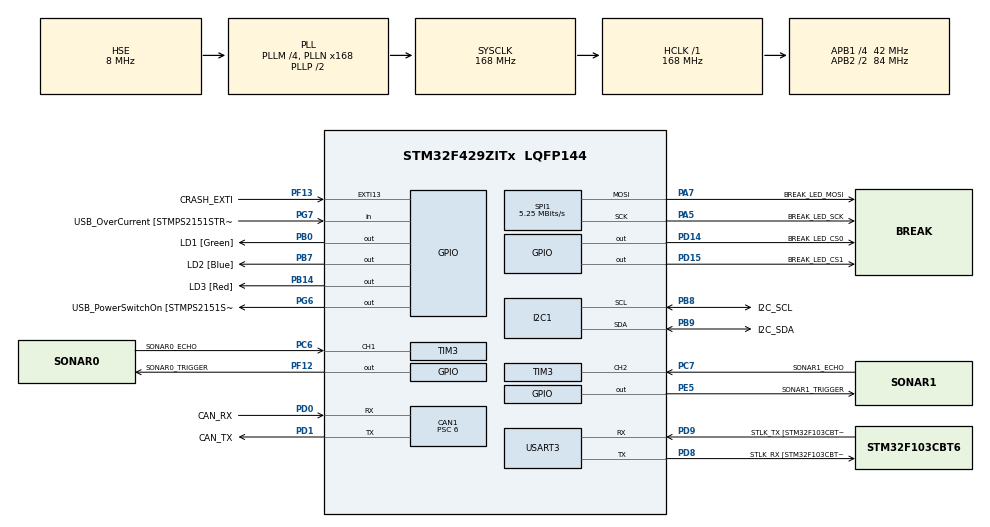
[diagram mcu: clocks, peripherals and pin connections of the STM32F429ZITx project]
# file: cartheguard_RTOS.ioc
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CAN1.BS1=CAN_BS1_11TQ
CAN1.BS2=CAN_BS2_2TQ
CAN1.CalculateBaudRate=500000
CAN1.CalculateTimeBit=2000
CAN1.CalculateTimeQuantum=142.85714285714286
CAN1.Prescaler=6
FREERTOS.Tasks01=defaultTask,0,128,StartDefaultTask,Default,NULL,Dynamic,NULL,NULL
Mcu.Family=STM32F4
Mcu.Name=STM32F429ZITx
Mcu.Package=LQFP144
NVIC.CAN1_RX0_IRQn=true\:5\:0\:false\:false\:true\:true\:true\:true\:true
NVIC.CAN1_RX1_IRQn=true\:5\:0\:false\:false\:true\:true\:true\:true\:true
NVIC.EXTI15_10_IRQn=true\:10\:0\:true\:false\:true\:true\:true\:true\:true
NVIC.PriorityGroup=NVIC_PRIORITYGROUP_4
NVIC.TIM3_IRQn=true\:5\:0\:false\:false\:true\:true\:true\:true\:true
PA13.GPIO_Label=TMS
PA13.Mode=Serial_Wire
PA13.Signal=SYS_JTMS-SWDIO
PA14.GPIO_Label=TCK
PA14.Mode=Serial_Wire
PA14.Signal=SYS_JTCK-SWCLK
PA5.GPIO_Label=BREAK_LED_SCK
PA5.Mode=TX_Only_Simplex_Unidirect_Master
PA5.Signal=SPI1_SCK
PA7.GPIO_Label=BREAK_LED_MOSI
PA7.Mode=TX_Only_Simplex_Unidirect_Master
PA7.Signal=SPI1_MOSI
PB0.GPIO_Label=LD1 [Green]
PB0.Signal=GPIO_Output
PB14.GPIO_Label=LD3 [Red]
PB14.Signal=GPIO_Output
PB7.GPIO_Label=LD2 [Blue]
PB7.Signal=GPIO_Output
PB8.GPIO_Label=I2C_SCL
PB8.Mode=I2C
PB8.Signal=I2C1_SCL
PB9.GPIO_Label=I2C_SDA
PB9.Mode=I2C
PB9.Signal=I2C1_SDA
PC14/OSC32_IN.Mode=LSE-External-Oscillator
PC14/OSC32_IN.Signal=RCC_OSC32_IN
PC15/OSC32_OUT.Mode=LSE-External-Oscillator
PC15/OSC32_OUT.Signal=RCC_OSC32_OUT
PC6.GPIO_Label=SONAR0_ECHO
PC6.Signal=S_TIM3_CH1
PC7.GPIO_Label=SONAR1_ECHO
PC7.Signal=S_TIM3_CH2
PD0.GPIO_Label=CAN_RX
PD0.Mode=CAN_Activate
PD0.Signal=CAN1_RX
PD1.GPIO_Label=CAN_TX
PD1.Mode=CAN_Activate
PD1.Signal=CAN1_TX
PD14.GPIO_Label=BREAK_LED_CS0
PD14.Signal=GPIO_Output
PD15.GPIO_Label=BREAK_LED_CS1
PD15.Signal=GPIO_Output
PD8.GPIO_Label=STLK_RX [STM32F103CBT6_PA3]
PD8.Mode=Asynchronous
PD8.Signal=USART3_TX
PD9.GPIO_Label=STLK_TX [STM32F103CBT6_PA2]
PD9.Mode=Asynchronous
PD9.Signal=USART3_RX
PE5.GPIO_Label=SONAR1_TRIGGER
PE5.Signal=GPIO_Output
PF12.GPIO_Label=SONAR0_TRIGGER
PF12.Signal=GPIO_Output
PF13.GPIO_Label=CRASH_EXTI
PF13.GPIO_ModeDefaultEXTI=GPIO_MODE_IT_FALLING
PF13.Signal=GPXTI13
PG6.GPIO_Label=USB_PowerSwitchOn [STMPS2151STR_EN]
PG6.Signal=GPIO_Output
PG7.GPIO_Label=USB_OverCurrent [STMPS2151STR_FAULT]
PG7.Signal=GPIO_Input
PH0/OSC_IN.GPIO_Label=MCO [STM32F103CBT6_PA8]
PH0/OSC_IN.Mode=HSE-External-Clock-Source
PH0/OSC_IN.Signal=RCC_OSC_IN
PH1/OSC_OUT.Mode=HSE-External-Clock-Source
PH1/OSC_OUT.Signal=RCC_OSC_OUT
ProjectManager.HeapSize=0x2000
ProjectManager.StackSize=0x4000
ProjectManager.TargetToolchain=STM32CubeIDE
RCC.48MHZClocksFreq_Value=48000000
RCC.AHBFreq_Value=168000000
RCC.APB1CLKDivider=RCC_HCLK_DIV4
RCC.APB1Freq_Value=42000000
RCC.APB1TimFreq_Value=84000000
RCC.APB2CLKDivider=RCC_HCLK_DIV2
RCC.APB2Freq_Value=84000000
RCC.APB2TimCLKDivider=2
RCC.APB2TimFreq_Value=168000000
RCC.CortexFreq_Value=168000000
RCC.HCLKFreq_Value=168000000
RCC.HSE_VALUE=8000000
RCC.HSI_VALUE=16000000
RCC.PLLM=4
RCC.PLLMUL=RCC_PLL_MUL9
RCC.PLLN=168
RCC.PLLQ=7
RCC.PLLSourceVirtual=RCC_PLLSOURCE_HSE
RCC.PRESCALERUSB=RCC_USBCLKSOURCE_PLL_DIV1_5
RCC.SYSCLKFreq_VALUE=168000000
RCC.SYSCLKSource=RCC_SYSCLKSOURCE_PLLCLK
RCC.SYSCLKSourceVirtual=RCC_SYSCLKSOURCE_PLLCLK
RCC.USBFreq_Value=48000000
RCC.VCOOutputFreq_Value=336000000
SH.S_TIM3_CH1.0=TIM3_CH1,Input_Capture1_from_TI1
SH.S_TIM3_CH2.0=TIM3_CH2,Input_Capture2_from_TI2
SPI1.BaudRatePrescaler=SPI_BAUDRATEPRESCALER_16
SPI1.CalculateBaudRate=5.25 MBits/s
SPI1.Direction=SPI_DIRECTION_2LINES
SPI1.Mode=SPI_MODE_MASTER
SPI1.VirtualType=VM_MASTER
TIM3.Channel-Input_Capture1_from_TI1=TIM_CHANNEL_1
TIM3.Channel-Input_Capture2_from_TI2=TIM_CHANNEL_2
TIM3.Prescaler=84-1
USART3.VirtualMode=VM_ASYNC
VP_FREERTOS_VS_CMSIS_V1.Mode=CMSIS_V1
VP_TIM3_VS_ClockSourceINT.Mode=Internal
board=NUCLEO-F429ZI

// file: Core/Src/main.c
/* USER CODE BEGIN Header */
/**
  ******************************************************************************
  * @file           : main.c
  * @brief          : Main program body
  ******************************************************************************
  * @attention
  *
  * Copyright (c) 2025 STMicroelectronics.
  * All rights reserved.
  *
  * This software is licensed under terms that can be found in the LICENSE file
  * in the root directory of this software component.
  * If no LICENSE file comes with this software, it is provided AS-IS.
  *
  ******************************************************************************
  */
/* USER CODE END Header */
#include "main.h"
#include "cmsis_os.h"

/* USER CODE BEGIN Includes */
#include <stdio.h>
#include "sonar.h"
#include "grid_led.h"
#include "compass.h"
#include "accel.h"
#include "collision.h"
#include "can.h"
#include "send_scheduler.h"
#include "can_bridge.h"

/* USER CODE END Includes */

CAN_HandleTypeDef hcan1;

I2C_HandleTypeDef hi2c1;

SPI_HandleTypeDef hspi1;

TIM_HandleTypeDef htim3;

UART_HandleTypeDef huart3;

osThreadId defaultTaskHandle;
/* USER CODE BEGIN PV */
osThreadId sonarTaskHandle;
osThreadId gridLEDTaskHandle;
osThreadId compassTaskHandle;
osThreadId accelTaskHandle;
osThreadId collisionTaskHandle;
osThreadId canTxTaskHandle;
osThreadId sendSchedulerTaskHandle;

osMessageQId canTxQueueHandle;
/* USER CODE END PV */

void SystemClock_Config(void);
static void MX_GPIO_Init(void);
static void MX_USART3_UART_Init(void);
static void MX_CAN1_Init(void);
static void MX_I2C1_Init(void);
static void MX_SPI1_Init(void);
static void MX_TIM3_Init(void);
void StartDefaultTask(void const * argument);

/* USER CODE BEGIN PFP */
void StartCompassTask(void const * argument);
void StartAccelTask(void const * argument);
void StartCollisionTask(void const * argument);
void StartCANTxTask(void const * argument);
void StartSendSchedulerTask(void const * argument);

/* USER CODE END PFP */

/* USER CODE BEGIN 0 */
int __io_putchar(uint8_t ch){
	HAL_UART_Transmit(&huart3, &ch, 1, 1000);
    return ch;
}

/* USER CODE END 0 */

int main(void)
{

  /* MCU Configuration--------------------------------------------------------*/

  /* Reset of all peripherals, Initializes the Flash interface and the Systick. */
  HAL_Init();

  /* Configure the system clock */
  SystemClock_Config();

  /* Initialize all configured peripherals */
  MX_GPIO_Init();
  MX_USART3_UART_Init();
  MX_CAN1_Init();
  MX_I2C1_Init();
  MX_SPI1_Init();
  MX_TIM3_Init();
  /* USER CODE BEGIN 2 */
  // --- I2C Scanner Start ---
  printf("Scanning I2C bus...\r\n");
  HAL_StatusTypeDef result;
  uint8_t i;
  for (i = 1; i < 128; i++)
  {
    // 해당 주소로 빈 데이터를 보내서 ACK가 오는지 확인
    result = HAL_I2C_IsDeviceReady(&hi2c1, (uint16_t)(i << 1), 2, 10);
    if (result == HAL_OK)
    {
        printf("Device found at 0x%02X (Write Addr: 0x%02X)\r\n", i, (i << 1));
    }
  }
  printf("Scan complete.\r\n");
  // --- I2C Scanner End ---

  GRIDLED_init(&hspi1);
  SONAR_init(&htim3);
  COMPASS_init(&hi2c1);
  ACCEL_init(&hi2c1);
  CAN_init();

  // ...
  /* USER CODE END 2 */

  /* Create the thread(s) */
  /* definition and creation of defaultTask */
//  osThreadDef(defaultTask, StartDefaultTask, osPriorityNormal, 0, 128);
//  defaultTaskHandle = osThreadCreate(osThread(defaultTask), NULL);

  /* USER CODE BEGIN RTOS_THREADS */
  /* add threads, ... */
  osThreadDef(sonarTask, StartSonarTask, osPriorityNormal, 0, 128);
  sonarTaskHandle = osThreadCreate(osThread(sonarTask), NULL);

  osThreadDef(gridLEDTask, StartGridLEDTask, osPriorityLow, 0, 128);
  gridLEDTaskHandle = osThreadCreate(osThread(gridLEDTask), NULL);

  osThreadDef(compassTask, StartCompassTask, osPriorityNormal, 0, 512);
  compassTaskHandle = osThreadCreate(osThread(compassTask), NULL);

  osThreadDef(accelTask, StartAccelTask, osPriorityNormal, 0, 512);
  accelTaskHandle = osThreadCreate(osThread(accelTask), NULL);

  osThreadDef(collisionTask, StartCollisionTask, osPriorityHigh, 0, 512);
  collisionTaskHandle = osThreadCreate(osThread(collisionTask), NULL);

  osThreadDef(canTxTask, StartCANTxTask, osPriorityAboveNormal, 0, 512);
  canTxTaskHandle = osThreadCreate(osThread(canTxTask), NULL);

  osThreadDef(sendSchedulerTask, StartSendSchedulerTask, osPriorityAboveNormal, 0, 512);
  sendSchedulerTaskHandle = osThreadCreate(osThread(sendSchedulerTask), NULL);

  /* USER CODE END RTOS_THREADS */

  /* Start scheduler */
  osKernelStart();

  /* We should never get here as control is now taken by the scheduler */

  /* Infinite loop */
  while (1)
  {

  }
}

void SystemClock_Config(void)
{
  RCC_OscInitTypeDef RCC_OscInitStruct = {0};
  RCC_ClkInitTypeDef RCC_ClkInitStruct = {0};

  /** Configure the main internal regulator output voltage
  */
  __HAL_RCC_PWR_CLK_ENABLE();
  __HAL_PWR_VOLTAGESCALING_CONFIG(PWR_REGULATOR_VOLTAGE_SCALE1);

  /** Initializes the RCC Oscillators according to the specified parameters
  * in the RCC_OscInitTypeDef structure.
  */
  RCC_OscInitStruct.OscillatorType = RCC_OSCILLATORTYPE_HSE;
  RCC_OscInitStruct.HSEState = RCC_HSE_BYPASS;
  RCC_OscInitStruct.PLL.PLLState = RCC_PLL_ON;
  RCC_OscInitStruct.PLL.PLLSource = RCC_PLLSOURCE_HSE;
  RCC_OscInitStruct.PLL.PLLM = 4;
  RCC_OscInitStruct.PLL.PLLN = 168;
  RCC_OscInitStruct.PLL.PLLP = RCC_PLLP_DIV2;
  RCC_OscInitStruct.PLL.PLLQ = 7;
  if (HAL_RCC_OscConfig(&RCC_OscInitStruct) != HAL_OK)
  {
    Error_Handler();
  }

  /** Initializes the CPU, AHB and APB buses clocks
  */
  RCC_ClkInitStruct.ClockType = RCC_CLOCKTYPE_HCLK|RCC_CLOCKTYPE_SYSCLK
                              |RCC_CLOCKTYPE_PCLK1|RCC_CLOCKTYPE_PCLK2;
  RCC_ClkInitStruct.SYSCLKSource = RCC_SYSCLKSOURCE_PLLCLK;
  RCC_ClkInitStruct.AHBCLKDivider = RCC_SYSCLK_DIV1;
  RCC_ClkInitStruct.APB1CLKDivider = RCC_HCLK_DIV4;
  RCC_ClkInitStruct.APB2CLKDivider = RCC_HCLK_DIV2;

  if (HAL_RCC_ClockConfig(&RCC_ClkInitStruct, FLASH_LATENCY_5) != HAL_OK)
  {
    Error_Handler();
  }
}

static void MX_CAN1_Init(void)
{

  hcan1.Instance = CAN1;
  hcan1.Init.Prescaler = 6;
  hcan1.Init.Mode = CAN_MODE_NORMAL;
  hcan1.Init.SyncJumpWidth = CAN_SJW_1TQ;
  hcan1.Init.TimeSeg1 = CAN_BS1_11TQ;
  hcan1.Init.TimeSeg2 = CAN_BS2_2TQ;
  hcan1.Init.TimeTriggeredMode = DISABLE;
  hcan1.Init.AutoBusOff = DISABLE;
  hcan1.Init.AutoWakeUp = DISABLE;
  hcan1.Init.AutoRetransmission = DISABLE;
  hcan1.Init.ReceiveFifoLocked = DISABLE;
  hcan1.Init.TransmitFifoPriority = DISABLE;
  if (HAL_CAN_Init(&hcan1) != HAL_OK)
  {
    Error_Handler();
  }

}

static void MX_I2C1_Init(void)
{

  hi2c1.Instance = I2C1;
  hi2c1.Init.ClockSpeed = 100000;
  hi2c1.Init.DutyCycle = I2C_DUTYCYCLE_2;
  hi2c1.Init.OwnAddress1 = 0;
  hi2c1.Init.AddressingMode = I2C_ADDRESSINGMODE_7BIT;
  hi2c1.Init.DualAddressMode = I2C_DUALADDRESS_DISABLE;
  hi2c1.Init.OwnAddress2 = 0;
  hi2c1.Init.GeneralCallMode = I2C_GENERALCALL_DISABLE;
  hi2c1.Init.NoStretchMode = I2C_NOSTRETCH_DISABLE;
  if (HAL_I2C_Init(&hi2c1) != HAL_OK)
  {
    Error_Handler();
  }

  /** Configure Analogue filter
  */
  if (HAL_I2CEx_ConfigAnalogFilter(&hi2c1, I2C_ANALOGFILTER_ENABLE) != HAL_OK)
  {
    Error_Handler();
  }

  /** Configure Digital filter
  */
  if (HAL_I2CEx_ConfigDigitalFilter(&hi2c1, 0) != HAL_OK)
  {
    Error_Handler();
  }

}

static void MX_SPI1_Init(void)
{

  /* SPI1 parameter configuration*/
  hspi1.Instance = SPI1;
  hspi1.Init.Mode = SPI_MODE_MASTER;
  hspi1.Init.Direction = SPI_DIRECTION_2LINES;
  hspi1.Init.DataSize = SPI_DATASIZE_8BIT;
  hspi1.Init.CLKPolarity = SPI_POLARITY_LOW;
  hspi1.Init.CLKPhase = SPI_PHASE_1EDGE;
  hspi1.Init.NSS = SPI_NSS_SOFT;
  hspi1.Init.BaudRatePrescaler = SPI_BAUDRATEPRESCALER_16;
  hspi1.Init.FirstBit = SPI_FIRSTBIT_MSB;
  hspi1.Init.TIMode = SPI_TIMODE_DISABLE;
  hspi1.Init.CRCCalculation = SPI_CRCCALCULATION_DISABLE;
  hspi1.Init.CRCPolynomial = 10;
  if (HAL_SPI_Init(&hspi1) != HAL_OK)
  {
    Error_Handler();
  }

}

static void MX_TIM3_Init(void)
{

  TIM_ClockConfigTypeDef sClockSourceConfig = {0};
  TIM_MasterConfigTypeDef sMasterConfig = {0};
  TIM_IC_InitTypeDef sConfigIC = {0};

  htim3.Instance = TIM3;
  htim3.Init.Prescaler = 84-1;
  htim3.Init.CounterMode = TIM_COUNTERMODE_UP;
  htim3.Init.Period = 65535;
  htim3.Init.ClockDivision = TIM_CLOCKDIVISION_DIV1;
  htim3.Init.AutoReloadPreload = TIM_AUTORELOAD_PRELOAD_DISABLE;
  if (HAL_TIM_Base_Init(&htim3) != HAL_OK)
  {
    Error_Handler();
  }
  sClockSourceConfig.ClockSource = TIM_CLOCKSOURCE_INTERNAL;
  if (HAL_TIM_ConfigClockSource(&htim3, &sClockSourceConfig) != HAL_OK)
  {
    Error_Handler();
  }
  if (HAL_TIM_IC_Init(&htim3) != HAL_OK)
  {
    Error_Handler();
  }
  sMasterConfig.MasterOutputTrigger = TIM_TRGO_RESET;
  sMasterConfig.MasterSlaveMode = TIM_MASTERSLAVEMODE_DISABLE;
  if (HAL_TIMEx_MasterConfigSynchronization(&htim3, &sMasterConfig) != HAL_OK)
  {
    Error_Handler();
  }
  sConfigIC.ICPolarity = TIM_INPUTCHANNELPOLARITY_RISING;
  sConfigIC.ICSelection = TIM_ICSELECTION_DIRECTTI;
  sConfigIC.ICPrescaler = TIM_ICPSC_DIV1;
  sConfigIC.ICFilter = 0;
  if (HAL_TIM_IC_ConfigChannel(&htim3, &sConfigIC, TIM_CHANNEL_1) != HAL_OK)
  {
    Error_Handler();
  }
  if (HAL_TIM_IC_ConfigChannel(&htim3, &sConfigIC, TIM_CHANNEL_2) != HAL_OK)
  {
    Error_Handler();
  }

}

static void MX_USART3_UART_Init(void)
{

  huart3.Instance = USART3;
  huart3.Init.BaudRate = 115200;
  huart3.Init.WordLength = UART_WORDLENGTH_8B;
  huart3.Init.StopBits = UART_STOPBITS_1;
  huart3.Init.Parity = UART_PARITY_NONE;
  huart3.Init.Mode = UART_MODE_TX_RX;
  huart3.Init.HwFlowCtl = UART_HWCONTROL_NONE;
  huart3.Init.OverSampling = UART_OVERSAMPLING_16;
  if (HAL_UART_Init(&huart3) != HAL_OK)
  {
    Error_Handler();
  }

}

static void MX_GPIO_Init(void)
{
  GPIO_InitTypeDef GPIO_InitStruct = {0};

  /* GPIO Ports Clock Enable */
  __HAL_RCC_GPIOE_CLK_ENABLE();
  __HAL_RCC_GPIOC_CLK_ENABLE();
  __HAL_RCC_GPIOH_CLK_ENABLE();
  __HAL_RCC_GPIOA_CLK_ENABLE();
  __HAL_RCC_GPIOB_CLK_ENABLE();
  __HAL_RCC_GPIOF_CLK_ENABLE();
  __HAL_RCC_GPIOD_CLK_ENABLE();
  __HAL_RCC_GPIOG_CLK_ENABLE();

  /*Configure GPIO pin Output Level */
  HAL_GPIO_WritePin(SONAR1_TRIGGER_GPIO_Port, SONAR1_TRIGGER_Pin, GPIO_PIN_RESET);

  /*Configure GPIO pin Output Level */
  HAL_GPIO_WritePin(GPIOB, LD1_Pin|LD3_Pin|LD2_Pin, GPIO_PIN_RESET);

  /*Configure GPIO pin Output Level */
  HAL_GPIO_WritePin(SONAR0_TRIGGER_GPIO_Port, SONAR0_TRIGGER_Pin, GPIO_PIN_RESET);

  /*Configure GPIO pin Output Level */
  HAL_GPIO_WritePin(GPIOD, BREAK_LED_CS0_Pin|BREAK_LED_CS1_Pin, GPIO_PIN_RESET);

  /*Configure GPIO pin Output Level */
  HAL_GPIO_WritePin(USB_PowerSwitchOn_GPIO_Port, USB_PowerSwitchOn_Pin, GPIO_PIN_RESET);

  /*Configure GPIO pin : SONAR1_TRIGGER_Pin */
  GPIO_InitStruct.Pin = SONAR1_TRIGGER_Pin;
  GPIO_InitStruct.Mode = GPIO_MODE_OUTPUT_PP;
  GPIO_InitStruct.Pull = GPIO_NOPULL;
  GPIO_InitStruct.Speed = GPIO_SPEED_FREQ_LOW;
  HAL_GPIO_Init(SONAR1_TRIGGER_GPIO_Port, &GPIO_InitStruct);

  /*Configure GPIO pins : LD1_Pin LD3_Pin LD2_Pin */
  GPIO_InitStruct.Pin = LD1_Pin|LD3_Pin|LD2_Pin;
  GPIO_InitStruct.Mode = GPIO_MODE_OUTPUT_PP;
  GPIO_InitStruct.Pull = GPIO_NOPULL;
  GPIO_InitStruct.Speed = GPIO_SPEED_FREQ_LOW;
  HAL_GPIO_Init(GPIOB, &GPIO_InitStruct);

  /*Configure GPIO pin : SONAR0_TRIGGER_Pin */
  GPIO_InitStruct.Pin = SONAR0_TRIGGER_Pin;
  GPIO_InitStruct.Mode = GPIO_MODE_OUTPUT_PP;
  GPIO_InitStruct.Pull = GPIO_NOPULL;
  GPIO_InitStruct.Speed = GPIO_SPEED_FREQ_LOW;
  HAL_GPIO_Init(SONAR0_TRIGGER_GPIO_Port, &GPIO_InitStruct);

  /*Configure GPIO pin : CRASH_EXTI_Pin */
  GPIO_InitStruct.Pin = CRASH_EXTI_Pin;
  GPIO_InitStruct.Mode = GPIO_MODE_IT_FALLING;
  GPIO_InitStruct.Pull = GPIO_NOPULL;
  HAL_GPIO_Init(CRASH_EXTI_GPIO_Port, &GPIO_InitStruct);

  /*Configure GPIO pins : BREAK_LED_CS0_Pin BREAK_LED_CS1_Pin */
  GPIO_InitStruct.Pin = BREAK_LED_CS0_Pin|BREAK_LED_CS1_Pin;
  GPIO_InitStruct.Mode = GPIO_MODE_OUTPUT_PP;
  GPIO_InitStruct.Pull = GPIO_NOPULL;
  GPIO_InitStruct.Speed = GPIO_SPEED_FREQ_LOW;
  HAL_GPIO_Init(GPIOD, &GPIO_InitStruct);

  /*Configure GPIO pin : USB_PowerSwitchOn_Pin */
  GPIO_InitStruct.Pin = USB_PowerSwitchOn_Pin;
  GPIO_InitStruct.Mode = GPIO_MODE_OUTPUT_PP;
  GPIO_InitStruct.Pull = GPIO_NOPULL;
  GPIO_InitStruct.Speed = GPIO_SPEED_FREQ_LOW;
  HAL_GPIO_Init(USB_PowerSwitchOn_GPIO_Port, &GPIO_InitStruct);

  /*Configure GPIO pin : USB_OverCurrent_Pin */
  GPIO_InitStruct.Pin = USB_OverCurrent_Pin;
  GPIO_InitStruct.Mode = GPIO_MODE_INPUT;
  GPIO_InitStruct.Pull = GPIO_NOPULL;
  HAL_GPIO_Init(USB_OverCurrent_GPIO_Port, &GPIO_InitStruct);

  /* EXTI interrupt init*/
  HAL_NVIC_SetPriority(EXTI15_10_IRQn, 10, 0);
  HAL_NVIC_EnableIRQ(EXTI15_10_IRQn);

}

/* USER CODE BEGIN 4 */
void HAL_TIM_IC_CaptureCallback(TIM_HandleTypeDef *htim)
{
	if (htim->Instance == TIM3){
		SONAR_Process_Interrupt(htim);
	}
}

void StartSonarTask(void const * argument)
{
	SONAR_Task_Loop(argument);

	/* Infinite loop */
	for(;;)
	{
		osDelay(1);
	}
}

void StartGridLEDTask(void const * argument)
{
	GRIDLED_Task_Loop(argument);

	/* Infinite loop */
	for(;;)
	{
		osDelay(1);
	}
}

void StartCompassTask(void const * argument)
{
    // compass.c 에 있는 실제 무한 루프 함수 호출
	COMPASS_task_loop(argument);

    /* Infinite loop */
    for(;;)
    {
        // 혹시라도 루프를 빠져나오면 여기서 대기
        osDelay(1);
    }
}

void StartAccelTask(void const * argument)
{
    // compass.c 에 있는 실제 무한 루프 함수 호출
	ACCEL_task_loop(argument);

    /* Infinite loop */
    for(;;)
    {
        // 혹시라도 루프를 빠져나오면 여기서 대기
        osDelay(1);
    }
}

void StartCollisionTask(void const * argument)
{
	int32_t debug = 0;
    // 1. 초기화 (세마포어 생성)
    COLLISION_Init();

    for(;;)
    {
        // 2. 대기 (여기서 멈춤!)
        // osWaitForever: 충돌이 날 때까지 영원히 잠듭니다.
        // 이때 CPU는 이 Task를 건너뛰고 다른 Task(나침반, 가속도 등)만 열심히 돌립니다.
        if (COLLISION_WaitForSignal(osWaitForever) == osOK)
        {
            // ====================================================
            // [3] 충돌 발생 시 깨어나서 실행되는 곳
            // ====================================================

            HAL_GPIO_TogglePin(GPIOB, GPIO_PIN_7);
            CAN_send_collision();

            // 후속 처리가 끝나면 루프가 다시 돌면서
            // 다시 WaitForSignal에서 대기 상태로 들어갑니다.
        }
    }
}

void StartCANTxTask(void const * argument)
{
    // can.c 에 있는 실제 무한 루프 함수 호출
	CAN_task_loop(argument);

    /* Infinite loop */
    for(;;)
    {
        // 혹시라도 루프를 빠져나오면 여기서 대기
        osDelay(1);
    }
}

void StartSendSchedulerTask(void const * argument)
{
    // can.c 에 있는 실제 무한 루프 함수 호출
	SCHEDULER_task_loop(argument);

    /* Infinite loop */
    for(;;)
    {
        // 혹시라도 루프를 빠져나오면 여기서 대기
        osDelay(1);
    }
}
/* USER CODE END 4 */

void StartDefaultTask(void const * argument)
{
	for(;;)
	{
		osDelay(1);
	}
}

void Error_Handler(void)
{
  __disable_irq();
  while (1)
  {
  }
}
